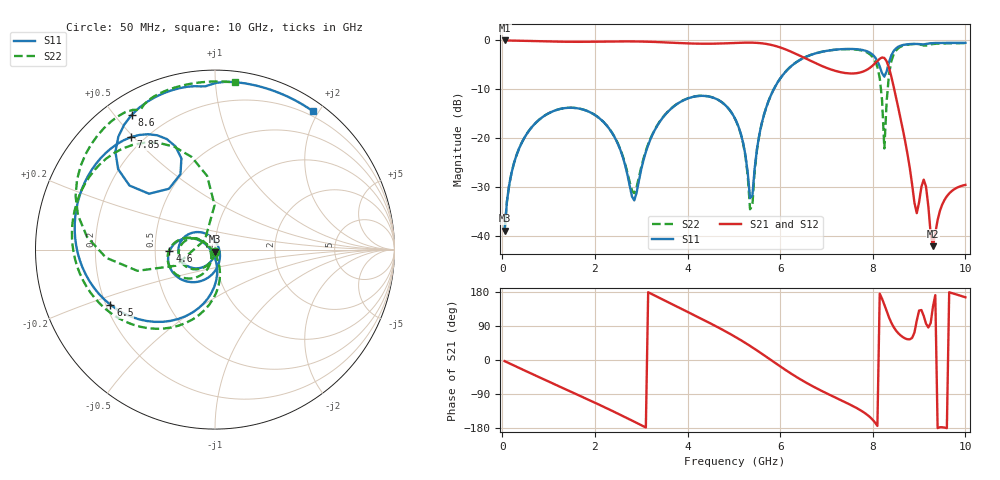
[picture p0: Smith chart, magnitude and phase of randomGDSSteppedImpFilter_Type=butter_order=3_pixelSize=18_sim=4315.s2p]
! freq	dB(S11)	phase(S11)	dB(S12)	phase(S12)
!  dB(S21)	phase(S21)	dB(S22)	phase(S22)
!S-par simulation data
#  GHz  S  DB  R 50
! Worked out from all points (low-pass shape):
!   200 points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, 50 MHz to 10 GHz, reference 50 ohm
!   highest |S21| = -0.01 dB at 50 MHz (marker M1); lowest = -42.2 dB at 9.3 GHz (marker M2)
!   |S21| within 3 dB of the highest: start of sweep to 6.396 GHz
!   lowest |S11| = -39.0 dB at 50 MHz (marker M3), VSWR 1.02, Z = 50 - j1.12 ohm
!   |S11| at or under -10 dB: start of sweep to 5.863 GHz
!   |S22| runs from -39.0 to -0.6 dB; largest |S21 - S12| = 0
!   S11 on the Smith chart (normalised r, x): 50 MHz: 1.00, -0.02; 4.6 GHz: 0.60, -0.01; 6.5 GHz: 0.22, -0.24; 7.85 GHz: 0.15, +0.49; 8.6 GHz: 0.08, +0.55; 10 GHz: 0.13, +1.92
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0.05  -39.00 -91.3  -0.01 -2.9  -0.01 -2.9  -38.98 -91.3
0.2  -27.12 -101.9  -0.03 -11.6  -0.03 -11.6  -27.12 -101.1
0.55  -18.86 -123.0  -0.10 -31.6  -0.10 -31.6  -18.86 -120.9
1.75  -14.19 166.3  -0.29 -98.5  -0.29 -98.5  -14.18 175.8
2.4  -19.42 122.0  -0.22 -135.8  -0.22 -135.8  -19.37 146.9
2.85  -32.79 10.8  -0.21 -162.8  -0.21 -162.8  -31.31 -157.6
3.4  -16.68 -99.2  -0.35 163.5  -0.35 163.5  -16.61 -116.1
4.6  -11.91 -178.0  -0.66 89.9  -0.66 89.9  -11.89 -180.0
5.05  -16.52 154.5  -0.51 59.7  -0.51 59.7  -16.54 153.5
5.35  -32.32 -177.0  -0.45 37.2  -0.45 37.2  -34.61 174.7
5.7  -13.72 -91.0  -0.72 8.6  -0.72 8.6  -13.73 -84.7
6.5  -3.62 -152.2  -3.48 -55.6  -3.48 -55.6  -3.62 -144.7
6.7  -2.84 -165.9  -4.39 -69.1  -4.39 -69.1  -2.84 -157.8
7.85  -2.14 126.7  -6.13 -141.9  -6.13 -141.9  -2.35 132.5
8.15  -5.34 110.2  -3.77 175.1  -3.77 175.1  -7.68 96.1
8.25  -7.43 127.1  -3.60 145.9  -3.60 145.9  -22.15 135.9
8.35  -4.51 143.2  -5.61 112.5  -5.61 112.5  -6.97 -164.7
8.6  -1.08 121.7  -16.01 65.0  -16.01 65.0  -1.29 153.1
8.95  -0.72 99.8  -35.40 104.0  -35.40 104.0  -0.74 126.2
9.15  -0.73 91.6  -29.98 95.9  -29.98 95.9  -1.05 117.7
9.3  -0.55 84.4  -42.18 141.0  -42.18 141.0  -0.74 111.8
10  -0.50 54.8  -29.62 165.5  -29.62 165.5  -0.55 83.1
